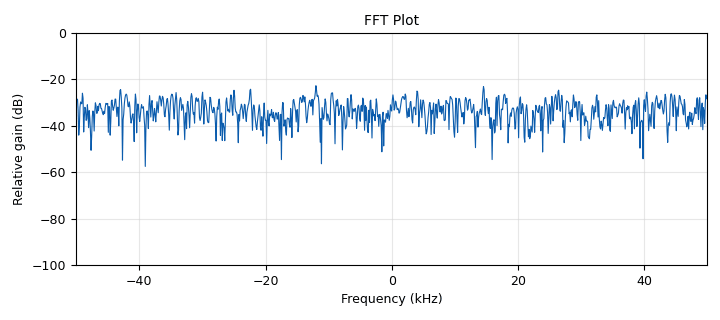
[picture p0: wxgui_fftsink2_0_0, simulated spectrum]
<?xml version='1.0' encoding='utf-8'?>
<?grc format='1' created='3.7.8'?>
<flow_graph>
<block>
<key>options</key>
<param><key>id</key><value>top_block</value></param>
<param><key>category</key><value>Custom</value></param>
<param><key>generate_options</key><value>wx_gui</value></param>
</block>
<block>
<key>variable</key>
<param><key>id</key><value>samp_rate</value></param>
<param><key>value</key><value>100e3</value></param>
</block>
<block>
<key>analog_random_source_x</key>
<param><key>id</key><value>analog_random_source_x_0</value></param>
<param><key>max</key><value>2147483647</value></param>
<param><key>min</key><value>-2147483648</value></param>
<param><key>num_samps</key><value>1000</value></param>
<param><key>type</key><value>int</value></param>
<param><key>repeat</key><value>True</value></param>
</block>
<block>
<key>blocks_deinterleave</key>
<param><key>id</key><value>blocks_deinterleave_0</value></param>
<param><key>type</key><value>float</value></param>
</block>
<block>
<key>blocks_float_to_complex</key>
<param><key>id</key><value>blocks_float_to_complex_0</value></param>
</block>
<block>
<key>blocks_int_to_float</key>
<param><key>id</key><value>blocks_int_to_float_0</value></param>
<param><key>scale</key><value>2147483647.</value></param>
</block>
<block>
<key>blocks_throttle</key>
<param><key>id</key><value>blocks_throttle_0</value></param>
<param><key>samples_per_second</key><value>samp_rate</value></param>
<param><key>type</key><value>complex</value></param>
</block>
<block>
<key>ha5kfu_execproc_xx</key>
<param><key>id</key><value>ha5kfu_execproc_xx_0</value></param>
<param><key>commandline</key><value>csdr resonators_fir_cc 101 -0.2 -0.1 0 0.1 0.2</value></param>
<param><key>type</key><value>cc</value></param>
</block>
<block>
<key>wxgui_fftsink2</key>
<param><key>id</key><value>wxgui_fftsink2_0</value></param>
<param><key>avg_alpha</key><value>0</value></param>
<param><key>average</key><value>False</value></param>
<param><key>baseband_freq</key><value>0</value></param>
<param><key>fft_size</key><value>1024</value></param>
<param><key>freqvar</key><value>None</value></param>
<param><key>peak_hold</key><value>False</value></param>
<param><key>ref_level</key><value>0</value></param>
<param><key>ref_scale</key><value>2.0</value></param>
<param><key>fft_rate</key><value>15</value></param>
<param><key>samp_rate</key><value>samp_rate</value></param>
<param><key>title</key><value>FFT Plot</value></param>
<param><key>type</key><value>complex</value></param>
<param><key>win</key><value>None</value></param>
<param><key>y_divs</key><value>10</value></param>
<param><key>y_per_div</key><value>10</value></param>
</block>
<block>
<key>wxgui_fftsink2</key>
<param><key>id</key><value>wxgui_fftsink2_0_0</value></param>
<param><key>avg_alpha</key><value>0</value></param>
<param><key>average</key><value>False</value></param>
<param><key>baseband_freq</key><value>0</value></param>
<param><key>fft_size</key><value>1024</value></param>
<param><key>freqvar</key><value>None</value></param>
<param><key>peak_hold</key><value>False</value></param>
<param><key>ref_level</key><value>0</value></param>
<param><key>ref_scale</key><value>2.0</value></param>
<param><key>fft_rate</key><value>15</value></param>
<param><key>samp_rate</key><value>samp_rate</value></param>
<param><key>title</key><value>FFT Plot</value></param>
<param><key>type</key><value>complex</value></param>
<param><key>win</key><value>None</value></param>
<param><key>y_divs</key><value>10</value></param>
<param><key>y_per_div</key><value>10</value></param>
</block>
<block>
<key>wxgui_scopesink2</key>
<param><key>id</key><value>wxgui_scopesink2_0</value></param>
<param><key>ac_couple</key><value>False</value></param>
<param><key>_enabled</key><value>0</value></param>
<param><key>num_inputs</key><value>1</value></param>
<param><key>samp_rate</key><value>samp_rate</value></param>
<param><key>t_scale</key><value>0</value></param>
<param><key>title</key><value>Scope Plot</value></param>
<param><key>trig_mode</key><value>wxgui.TRIG_MODE_AUTO</value></param>
<param><key>type</key><value>complex</value></param>
<param><key>v_offset</key><value>0</value></param>
<param><key>v_scale</key><value>0</value></param>
<param><key>xy_mode</key><value>False</value></param>
<param><key>y_axis_label</key><value>Counts</value></param>
</block>
<connection><source_block_id>analog_random_source_x_0</source_block_id><sink_block_id>blocks_int_to_float_0</sink_block_id><source_key>0</source_key><sink_key>0</sink_key></connection>
<connection><source_block_id>blocks_deinterleave_0</source_block_id><sink_block_id>blocks_float_to_complex_0</sink_block_id><source_key>0</source_key><sink_key>0</sink_key></connection>
<connection><source_block_id>blocks_deinterleave_0</source_block_id><sink_block_id>blocks_float_to_complex_0</sink_block_id><source_key>1</source_key><sink_key>1</sink_key></connection>
<connection><source_block_id>blocks_float_to_complex_0</source_block_id><sink_block_id>blocks_throttle_0</sink_block_id><source_key>0</source_key><sink_key>0</sink_key></connection>
<connection><source_block_id>blocks_int_to_float_0</source_block_id><sink_block_id>blocks_deinterleave_0</sink_block_id><source_key>0</source_key><sink_key>0</sink_key></connection>
<connection><source_block_id>blocks_throttle_0</source_block_id><sink_block_id>ha5kfu_execproc_xx_0</sink_block_id><source_key>0</source_key><sink_key>0</sink_key></connection>
<connection><source_block_id>blocks_throttle_0</source_block_id><sink_block_id>wxgui_fftsink2_0_0</sink_block_id><source_key>0</source_key><sink_key>0</sink_key></connection>
<connection><source_block_id>ha5kfu_execproc_xx_0</source_block_id><sink_block_id>wxgui_fftsink2_0</sink_block_id><source_key>0</source_key><sink_key>0</sink_key></connection>
<connection><source_block_id>ha5kfu_execproc_xx_0</source_block_id><sink_block_id>wxgui_scopesink2_0</sink_block_id><source_key>0</source_key><sink_key>0</sink_key></connection>
</flow_graph>
